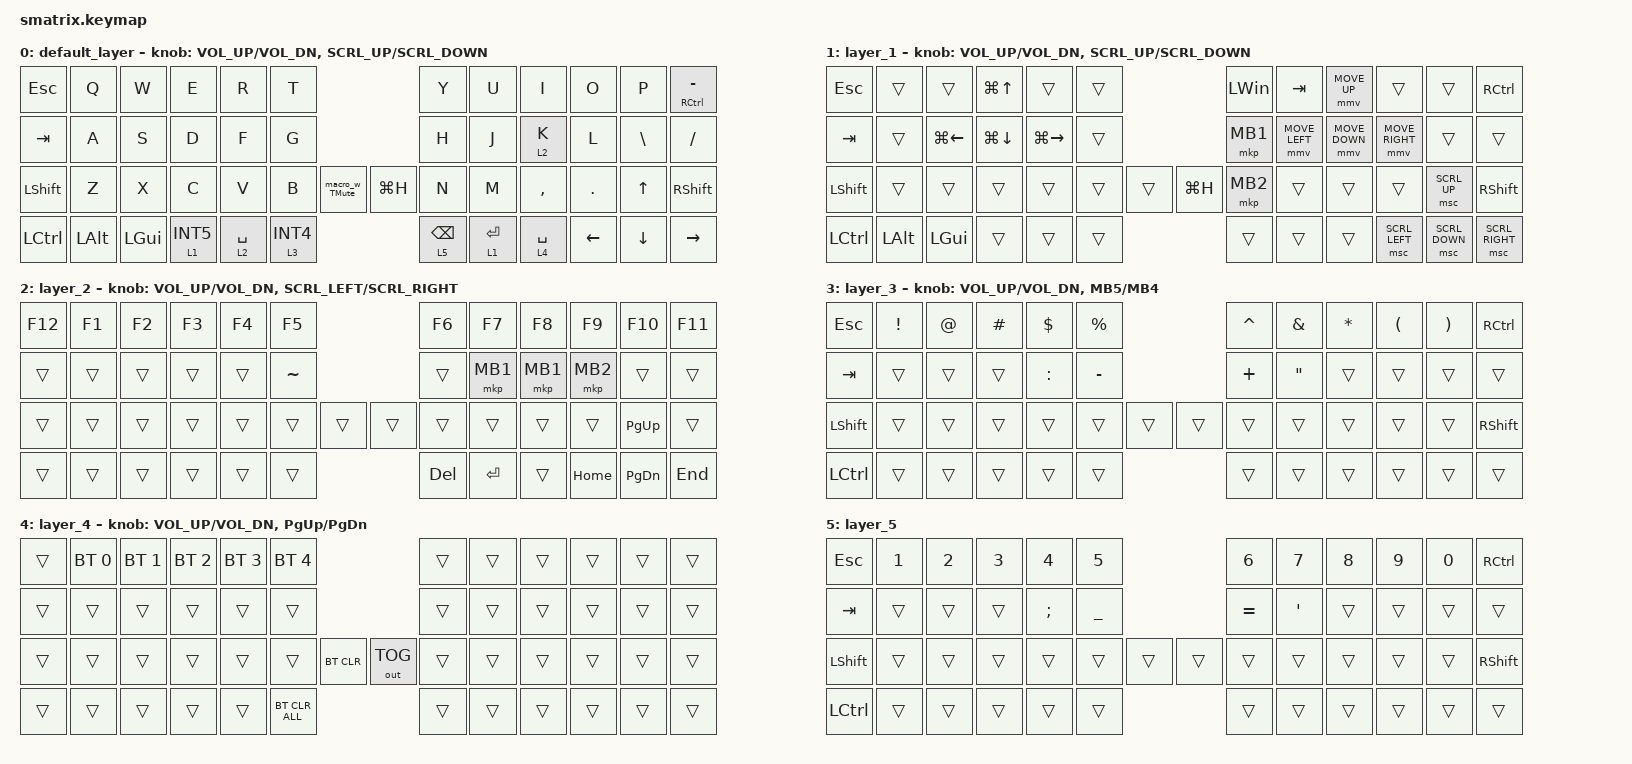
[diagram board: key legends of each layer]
#define ZMK_POINTING_DEFAULT_MOVE_VAL 800
#define ZMK_POINTING_DEFAULT_SCRL_VAL 120

#include <input/processors.dtsi>
#include <zephyr/dt-bindings/input/input-event-codes.h>
#include <behaviors.dtsi>
#include <dt-bindings/zmk/bt.h>
#include <dt-bindings/zmk/keys.h>
#include <dt-bindings/zmk/outputs.h>
#include <dt-bindings/zmk/pointing.h>

&mt {
    flavor = "balanced";
    quick-tap-ms = <0>;
};

&msc {
    delay-ms = <0>;
    trigger-period-ms = <10>;
    time-to-max-speed-ms = <0>;
    acceleration-exponent = <0>;
};

/ {
    input_processors {
        zip_wheel_scaler: zip_wheel_scaler {
            compatible = "zmk,input-processor-scaler";
            #input-processor-cells = <2>;
            type = <INPUT_EV_REL>;
            codes = <INPUT_REL_WHEEL>;
            track-remainders;
        };
    };
};

&msc_input_listener {
    warp {
        layers = <0>;
        input-processors = <&zip_wheel_scaler 4 1>;
    };

    precision {
        layers = <1>;
        input-processors = <&zip_wheel_scaler 1 2>;
    };
};

/ {
    behaviors {
        rot_kp: sensor_rotate_kp {
            compatible = "zmk,behavior-sensor-rotate-var";
            #sensor-binding-cells = <2>;
            bindings = <&kp>, <&kp>;
        };

        mouse_click: mouse_button_kp {
            compatible = "zmk,behavior-sensor-rotate-var";
            #sensor-binding-cells = <2>;
            bindings = <&mkp>, <&mkp>;
        };

        mouse_scrl: mouse_wheel_scrl {
            compatible = "zmk,behavior-sensor-rotate-var";
            #sensor-binding-cells = <2>;
            bindings = <&msc>, <&msc>;

            tap-ms = <10>;
        };

        macro_w_sshot: macro_w_sshot {
            compatible = "zmk,behavior-macro";
            label = "Win Screenshot Macro";
            #binding-cells = <0>;
            bindings =
                <&macro_press>,
                <&kp LGUI &kp LSHFT>,
                <&macro_tap>,
                <&kp S>,
                <&macro_release>,
                <&kp LGUI &kp LSHFT>;
        };

        macro_m_sshot: macro_m_sshot {
            compatible = "zmk,behavior-macro";
            label = "Mac Screenshot Macro";
            #binding-cells = <0>;
            bindings =
                <&macro_press>,
                <&kp LGUI &kp LSHFT>,
                <&macro_tap>,
                <&kp N4>,
                <&macro_release>,
                <&kp LGUI &kp LSHFT>;
        };

        macro_w_TMute: macro_w_TMute {
            compatible = "zmk,behavior-macro";
            label = "Win Teams Mic Mute";
            #binding-cells = <0>;
            bindings =
                <&macro_press>,
                <&kp LGUI &kp LALT>,
                <&macro_tap>,
                <&kp K>,
                <&macro_release>,
                <&kp LGUI &kp LALT>;
        };
    };

    macros {
    };

    keymap {
        compatible = "zmk,keymap";

        default_layer {
            bindings = <
&kp ESC    &kp Q         &kp W     &kp E       &kp R        &kp T                                    &kp Y            &kp U        &kp I        &kp O       &kp P          &mt RCTRL MINUS
&kp TAB    &kp A         &kp S     &kp D       &kp F        &kp G                                    &kp H            &kp J        &lt 2 K      &kp L       &kp BACKSLASH  &kp SLASH
&kp LSHFT  &kp Z         &kp X     &kp C       &kp V        &kp B       &macro_w_TMute    &kp LG(H)  &kp N            &kp M        &kp COMMA    &kp PERIOD  &kp UP         &kp RSHFT
&kp LCTRL  &kp LEFT_ALT  &kp LGUI  &lt 1 INT5  &lt 2 SPACE  &lt 3 INT4                               &lt 5 BACKSPACE  &lt 1 ENTER  &lt 4 SPACE  &kp LEFT    &kp DOWN       &kp RIGHT
            >;

            sensor-bindings = <&rot_kp C_VOL_UP C_VOL_DN    &mouse_scrl SCRL_UP SCRL_DOWN>;
        };

        layer_1 {
            bindings = <
&kp ESC         &trans        &trans        &kp LG(UP)    &trans         &trans                       &kp LEFT_WIN  &kp TAB         &mmv MOVE_UP    &trans           &trans          &kp RCTRL
&kp TAB         &trans        &kp LG(LEFT)  &kp LG(DOWN)  &kp LG(RIGHT)  &trans                       &mkp MB1      &mmv MOVE_LEFT  &mmv MOVE_DOWN  &mmv MOVE_RIGHT  &trans          &trans
&kp LEFT_SHIFT  &trans        &trans        &trans        &trans         &trans  &trans    &kp LG(H)  &mkp MB2      &trans          &trans          &trans           &msc SCRL_UP    &kp RIGHT_SHIFT
&kp LCTRL       &kp LEFT_ALT  &kp LGUI      &trans        &trans         &trans                       &trans        &trans          &trans          &msc SCRL_LEFT   &msc SCRL_DOWN  &msc SCRL_RIGHT
            >;

            sensor-bindings = <&rot_kp C_VOL_UP C_VOL_DN    &mouse_scrl SCRL_UP SCRL_DOWN>;
        };

        layer_2 {
            bindings = <
&kp F12  &kp F1  &kp F2  &kp F3  &kp F4  &kp F5                       &kp F6   &kp F7     &kp F8    &kp F9    &kp F10    &kp F11
&trans   &trans  &trans  &trans  &trans  &kp TILDE                    &trans   &mkp MB1   &mkp MB1  &mkp MB2  &trans     &trans
&trans   &trans  &trans  &trans  &trans  &trans     &trans    &trans  &trans   &trans     &trans    &trans    &kp PG_UP  &trans
&trans   &trans  &trans  &trans  &trans  &trans                       &kp DEL  &kp ENTER  &trans    &kp HOME  &kp PG_DN  &kp END
            >;

            sensor-bindings = <&rot_kp C_VOL_UP C_VOL_DN    &mouse_scrl SCRL_LEFT SCRL_RIGHT>;
        };

        layer_3 {
            bindings = <
&kp ESC         &kp EXCL  &kp AT  &kp HASH  &kp DOLLAR  &kp PERCENT                    &kp CARET  &kp AMPERSAND      &kp ASTRK  &kp LPAR  &kp RPAR  &kp RCTRL
&kp TAB         &trans    &trans  &trans    &kp COLON   &kp MINUS                      &kp PLUS   &kp DOUBLE_QUOTES  &trans     &trans    &trans    &trans
&kp LEFT_SHIFT  &trans    &trans  &trans    &trans      &trans       &trans    &trans  &trans     &trans             &trans     &trans    &trans    &kp RIGHT_SHIFT
&kp LCTRL       &trans    &trans  &trans    &trans      &trans                         &trans     &trans             &trans     &trans    &trans    &trans
            >;

            sensor-bindings = <&rot_kp C_VOL_UP C_VOL_DN    &mouse_click MB5 MB4>;
        };

        layer_4 {
            bindings = <
&trans  &bt BT_SEL 0  &bt BT_SEL 1  &bt BT_SEL 2  &bt BT_SEL 3  &bt BT_SEL 4                                &trans  &trans  &trans  &trans  &trans  &trans
&trans  &trans        &trans        &trans        &trans        &trans                                      &trans  &trans  &trans  &trans  &trans  &trans
&trans  &trans        &trans        &trans        &trans        &trans          &bt BT_CLR    &out OUT_TOG  &trans  &trans  &trans  &trans  &trans  &trans
&trans  &trans        &trans        &trans        &trans        &bt BT_CLR_ALL                              &trans  &trans  &trans  &trans  &trans  &trans
            >;

            sensor-bindings = <&rot_kp C_VOL_UP C_VOL_DN    &rot_kp PG_UP PG_DN>;
        };

        layer_5 {
            bindings = <
&kp ESC         &kp N1  &kp N2  &kp N3  &kp N4    &kp N5                       &kp N6     &kp N7   &kp N8  &kp N9  &kp N0  &kp RCTRL
&kp TAB         &trans  &trans  &trans  &kp SEMI  &kp UNDER                    &kp EQUAL  &kp SQT  &trans  &trans  &trans  &trans
&kp LEFT_SHIFT  &trans  &trans  &trans  &trans    &trans     &trans    &trans  &trans     &trans   &trans  &trans  &trans  &kp RIGHT_SHIFT
&kp LCTRL       &trans  &trans  &trans  &trans    &trans                       &trans     &trans   &trans  &trans  &trans  &trans
            >;
        };
    };
};
